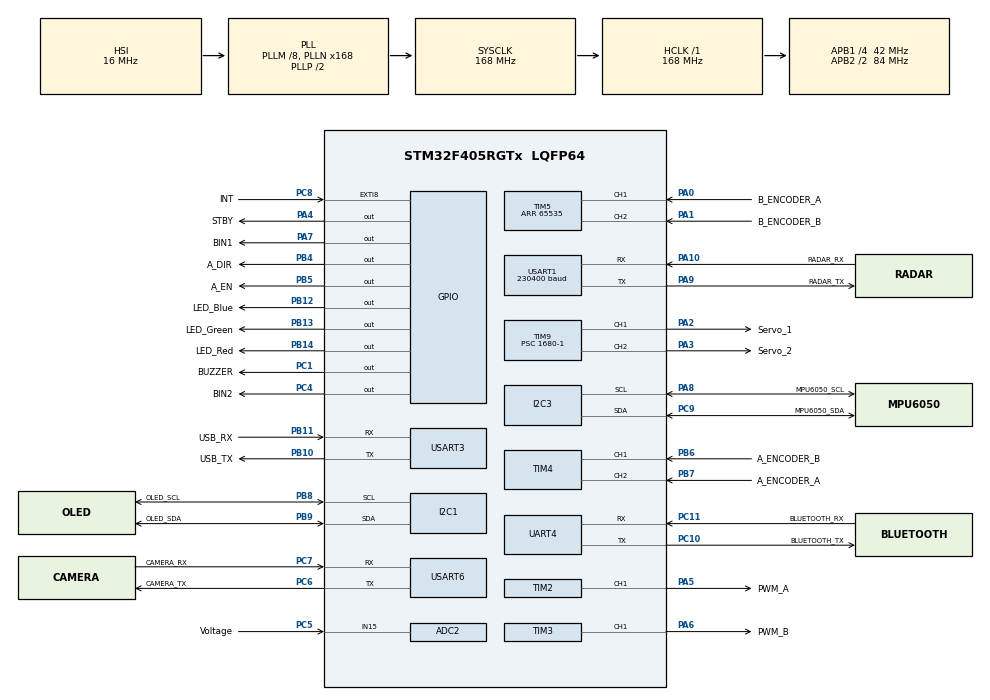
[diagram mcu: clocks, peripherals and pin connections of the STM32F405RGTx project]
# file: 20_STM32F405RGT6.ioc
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ADC1.Channel-1\#ChannelRegularConversion=ADC_CHANNEL_TEMPSENSOR
ADC1.ClockPrescaler=ADC_CLOCK_SYNC_PCLK_DIV8
ADC1.ContinuousConvMode=ENABLE
ADC1.DMAContinuousRequests=ENABLE
ADC1.NbrOfConversionFlag=1
ADC1.Rank-1\#ChannelRegularConversion=1
ADC1.SamplingTime-1\#ChannelRegularConversion=ADC_SAMPLETIME_480CYCLES
ADC1.ScanConvMode=ENABLE
ADC1.master=1
ADC2.Channel-0\#ChannelRegularConversion=ADC_CHANNEL_15
ADC2.ClockPrescaler=ADC_CLOCK_SYNC_PCLK_DIV8
ADC2.ContinuousConvMode=ENABLE
ADC2.DMAContinuousRequests=ENABLE
ADC2.NbrOfConversionFlag=1
ADC2.Rank-0\#ChannelRegularConversion=1
ADC2.SamplingTime-0\#ChannelRegularConversion=ADC_SAMPLETIME_480CYCLES
ADC2.ScanConvMode=ENABLE
Dma.ADC1.1.Direction=DMA_PERIPH_TO_MEMORY
Dma.ADC1.1.FIFOMode=DMA_FIFOMODE_DISABLE
Dma.ADC1.1.Instance=DMA2_Stream0
Dma.ADC1.1.MemDataAlignment=DMA_MDATAALIGN_HALFWORD
Dma.ADC1.1.MemInc=DMA_MINC_ENABLE
Dma.ADC1.1.Mode=DMA_CIRCULAR
Dma.ADC1.1.PeriphDataAlignment=DMA_PDATAALIGN_HALFWORD
Dma.ADC1.1.PeriphInc=DMA_PINC_DISABLE
Dma.ADC1.1.Priority=DMA_PRIORITY_LOW
Dma.ADC2.0.Direction=DMA_PERIPH_TO_MEMORY
Dma.ADC2.0.FIFOMode=DMA_FIFOMODE_DISABLE
Dma.ADC2.0.Instance=DMA2_Stream2
Dma.ADC2.0.MemDataAlignment=DMA_MDATAALIGN_HALFWORD
Dma.ADC2.0.MemInc=DMA_MINC_ENABLE
Dma.ADC2.0.Mode=DMA_CIRCULAR
Dma.ADC2.0.PeriphDataAlignment=DMA_PDATAALIGN_HALFWORD
Dma.ADC2.0.PeriphInc=DMA_PINC_DISABLE
Dma.ADC2.0.Priority=DMA_PRIORITY_LOW
Dma.Request0=ADC2
Dma.Request1=ADC1
FREERTOS.Tasks01=defaultTask,16,128,StartDefaultTask,Default,NULL,Dynamic,NULL,NULL;BalanceTask,40,128,StartBalanceTask,Default,NULL,Dynamic,NULL,NULL;CommunicationTask,32,128,StartCommunicationTask,Default,NULL,Dynamic,NULL,NULL;AvoidanceTask,24,128,StartAvoidanceTask,Default,NULL,Dynamic,NULL,NULL
FREERTOS.configMAX_TASK_NAME_LEN=18
I2C1.I2C_Mode=I2C_Fast
I2C3.I2C_Mode=I2C_Fast
Mcu.Family=STM32F4
Mcu.Name=STM32F405RGTx
Mcu.Package=LQFP64
NVIC.DMA2_Stream0_IRQn=true\:5\:0\:false\:false\:true\:true\:false\:true\:true
NVIC.DMA2_Stream2_IRQn=true\:5\:0\:false\:false\:true\:true\:false\:true\:true
NVIC.EXTI9_5_IRQn=true\:5\:0\:false\:false\:true\:true\:true\:true\:true
NVIC.PriorityGroup=NVIC_PRIORITYGROUP_4
NVIC.TIM4_IRQn=true\:5\:0\:false\:false\:true\:true\:true\:true\:true
NVIC.TIM5_IRQn=true\:5\:0\:false\:false\:true\:true\:true\:true\:true
NVIC.TIM6_DAC_IRQn=true\:5\:0\:false\:false\:true\:true\:true\:true\:true
NVIC.TIM8_TRG_COM_TIM14_IRQn=true\:15\:0\:false\:false\:true\:false\:false\:true\:true
NVIC.TimeBase=TIM8_TRG_COM_TIM14_IRQn
NVIC.TimeBaseIP=TIM14
NVIC.UART4_IRQn=true\:5\:0\:false\:false\:true\:true\:true\:true\:true
NVIC.USART1_IRQn=true\:5\:0\:false\:false\:true\:true\:true\:true\:true
NVIC.USART3_IRQn=true\:5\:0\:false\:false\:true\:true\:true\:true\:true
NVIC.USART6_IRQn=true\:5\:0\:false\:false\:true\:true\:true\:true\:true
PA0-WKUP.GPIO_Label=B_ENCODER_A
PA0-WKUP.Signal=S_TIM5_CH1
PA1.GPIO_Label=B_ENCODER_B
PA1.Signal=S_TIM5_CH2
PA10.GPIO_Label=RADAR_RX
PA10.Mode=Asynchronous
PA10.Signal=USART1_RX
PA13.Mode=Serial_Wire
PA13.Signal=SYS_JTMS-SWDIO
PA14.Mode=Serial_Wire
PA14.Signal=SYS_JTCK-SWCLK
PA2.GPIO_Label=Servo_1
PA2.Signal=S_TIM9_CH1
PA3.GPIO_Label=Servo_2
PA3.Signal=S_TIM9_CH2
PA4.GPIO_Label=STBY
PA4.Signal=GPIO_Output
PA5.GPIO_Label=PWM_A
PA5.Signal=S_TIM2_CH1_ETR
PA6.GPIO_Label=PWM_B
PA6.Signal=S_TIM3_CH1
PA7.GPIO_Label=BIN1
PA7.Signal=GPIO_Output
PA8.GPIO_Label=MPU6050_SCL
PA8.Mode=I2C
PA8.Signal=I2C3_SCL
PA9.GPIO_Label=RADAR_TX
PA9.Mode=Asynchronous
PA9.Signal=USART1_TX
PB10.GPIO_Label=USB_TX
PB10.Mode=Asynchronous
PB10.Signal=USART3_TX
PB11.GPIO_Label=USB_RX
PB11.Mode=Asynchronous
PB11.Signal=USART3_RX
PB12.GPIO_Label=LED_Blue
PB12.Signal=GPIO_Output
PB13.GPIO_Label=LED_Green
PB13.Signal=GPIO_Output
PB14.GPIO_Label=LED_Red
PB14.Signal=GPIO_Output
PB4.GPIO_Label=A_DIR
PB4.Signal=GPIO_Output
PB5.GPIO_Label=A_EN
PB5.Signal=GPIO_Output
PB6.GPIO_Label=A_ENCODER_B
PB6.Signal=S_TIM4_CH1
PB7.GPIO_Label=A_ENCODER_A
PB7.Signal=S_TIM4_CH2
PB8.GPIO_Label=OLED_SCL
PB8.Mode=I2C
PB8.Signal=I2C1_SCL
PB9.GPIO_Label=OLED_SDA
PB9.Mode=I2C
PB9.Signal=I2C1_SDA
PC1.GPIO_Label=BUZZER
PC1.Signal=GPIO_Output
PC10.GPIO_Label=BLUETOOTH_TX
PC10.GPIO_PuPd=GPIO_PULLUP
PC10.Mode=Asynchronous
PC10.Signal=UART4_TX
PC11.GPIO_Label=BLUETOOTH_RX
PC11.Mode=Asynchronous
PC11.Signal=UART4_RX
PC14-OSC32_IN.Mode=LSE-External-Oscillator
PC14-OSC32_IN.Signal=RCC_OSC32_IN
PC15-OSC32_OUT.Mode=LSE-External-Oscillator
PC15-OSC32_OUT.Signal=RCC_OSC32_OUT
PC4.GPIO_Label=BIN2
PC4.Signal=GPIO_Output
PC5.GPIO_Label=Voltage
PC5.Signal=ADCx_IN15
PC6.GPIO_Label=CAMERA_TX
PC6.Mode=Asynchronous
PC6.Signal=USART6_TX
PC7.GPIO_Label=CAMERA_RX
PC7.Mode=Asynchronous
PC7.Signal=USART6_RX
PC8.GPIO_Label=INT
PC8.GPIO_ModeDefaultEXTI=GPIO_MODE_IT_FALLING
PC8.GPIO_PuPd=GPIO_PULLUP
PC8.Signal=GPXTI8
PC9.GPIO_Label=MPU6050_SDA
PC9.Mode=I2C
PC9.Signal=I2C3_SDA
PH0-OSC_IN.Mode=HSE-External-Oscillator
PH0-OSC_IN.Signal=RCC_OSC_IN
PH1-OSC_OUT.Mode=HSE-External-Oscillator
PH1-OSC_OUT.Signal=RCC_OSC_OUT
ProjectManager.HeapSize=0x200
ProjectManager.StackSize=0x400
ProjectManager.TargetToolchain=MDK-ARM V5.32
RCC.48MHZClocksFreq_Value=84000000
RCC.AHBFreq_Value=168000000
RCC.APB1CLKDivider=RCC_HCLK_DIV4
RCC.APB1Freq_Value=42000000
RCC.APB1TimFreq_Value=84000000
RCC.APB2CLKDivider=RCC_HCLK_DIV2
RCC.APB2Freq_Value=84000000
RCC.APB2TimFreq_Value=168000000
RCC.CortexFreq_Value=168000000
RCC.HCLKFreq_Value=168000000
RCC.HSE_VALUE=25000000
RCC.HSI_VALUE=16000000
RCC.PLLM=8
RCC.PLLN=168
RCC.SYSCLKFreq_VALUE=168000000
RCC.SYSCLKSource=RCC_SYSCLKSOURCE_PLLCLK
RCC.VCOOutputFreq_Value=336000000
SH.ADCx_IN15.0=ADC2_IN15,IN15
SH.S_TIM2_CH1_ETR.0=TIM2_CH1,PWM Generation1 CH1
SH.S_TIM3_CH1.0=TIM3_CH1,PWM Generation1 CH1
SH.S_TIM4_CH1.0=TIM4_CH1,Encoder_Interface
SH.S_TIM4_CH2.0=TIM4_CH2,Encoder_Interface
SH.S_TIM5_CH1.0=TIM5_CH1,Encoder_Interface
SH.S_TIM5_CH2.0=TIM5_CH2,Encoder_Interface
SH.S_TIM9_CH1.0=TIM9_CH1,PWM Generation1 CH1
SH.S_TIM9_CH2.0=TIM9_CH2,PWM Generation2 CH2
TIM2.Channel-PWM\ Generation1\ CH1=TIM_CHANNEL_1
TIM2.OCFastMode_PWM-PWM\ Generation1\ CH1=TIM_OCFAST_ENABLE
TIM2.OCPolarity_1=TIM_OCPOLARITY_LOW
TIM2.Period=4200-1
TIM2.Prescaler=1-1
TIM3.Channel-PWM\ Generation1\ CH1=TIM_CHANNEL_1
TIM3.Period=1000-1
TIM3.Prescaler=168-1
TIM4.EncoderMode=TIM_ENCODERMODE_TI12
TIM4.IC1Filter=10
TIM4.IC2Filter=10
TIM5.EncoderMode=TIM_ENCODERMODE_TI12
TIM5.IC1Filter=10
TIM5.IC2Filter=10
TIM5.Period=65535
TIM6.Period=1000-1
TIM6.Prescaler=840-1
TIM9.Channel-PWM\ Generation1\ CH1=TIM_CHANNEL_1
TIM9.Channel-PWM\ Generation2\ CH2=TIM_CHANNEL_2
TIM9.Period=2000-1
TIM9.Prescaler=1680-1
UART4.VirtualMode=Asynchronous
USART1.BaudRate=230400
USART1.VirtualMode=VM_ASYNC
USART3.VirtualMode=VM_ASYNC
USART6.VirtualMode=VM_ASYNC
VP_ADC1_TempSens_Input.Mode=IN-TempSens
VP_FREERTOS_VS_CMSIS_V2.Mode=CMSIS_V2
VP_SYS_VS_tim14.Mode=TIM14
VP_TIM6_VS_ClockSourceINT.Mode=Enable_Timer
board=custom

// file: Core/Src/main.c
/* USER CODE BEGIN Header */
/**
  ******************************************************************************
  * @file           : main.c
  * @brief          : Main program body
  ******************************************************************************
  * @attention
  *
  * Copyright (c) 2024 STMicroelectronics.
  * All rights reserved.
  *
  * This software is licensed under terms that can be found in the LICENSE file
  * in the root directory of this software component.
  * If no LICENSE file comes with this software, it is provided AS-IS.
  *
  ******************************************************************************
  */
/* USER CODE END Header */
#include "main.h"
#include "cmsis_os.h"
#include "adc.h"
#include "dma.h"
#include "i2c.h"
#include "tim.h"
#include "usart.h"
#include "gpio.h"

/* USER CODE BEGIN Includes */

#include "./led/led.h"
#include "./oled/oled.h"
#include "./debug/debug.h"
#include "./adcc/adcc.h"
#include "./buzzer/buzzer.h"
#include "./servo/servo.h"
#include "./motor/motor.h"
#include "./mpu6050/mpu6050.h"
#include "./mpu6050/mpu6050_dmp.h"
#include "./mpu6050/mpu6050_imu.h"
#include "./bluetooth/bluetooth.h"
#include "./radar/radar.h"
#include "./pid/pid.h"
/* USER CODE END Includes */

void SystemClock_Config(void);
void MX_FREERTOS_Init(void);

int main(void)
{

  /* MCU Configuration--------------------------------------------------------*/

  /* Reset of all peripherals, Initializes the Flash interface and the Systick. */
  HAL_Init();

  /* Configure the system clock */
  SystemClock_Config();

  /* Initialize all configured peripherals */
  MX_GPIO_Init();
  MX_DMA_Init();
  MX_ADC2_Init();
  MX_ADC1_Init();
  MX_I2C1_Init();
  MX_I2C3_Init();
  MX_TIM2_Init();
  MX_TIM3_Init();
  MX_TIM4_Init();
  MX_TIM5_Init();
  MX_TIM9_Init();
  MX_UART4_Init();
  MX_USART1_UART_Init();
  MX_USART3_UART_Init();
  MX_USART6_UART_Init();
  MX_TIM6_Init();
  /* USER CODE BEGIN 2 */

	LED_Init();
	OLED_Init();OLED_Clear();OLED_Test();
	ADC_Init();
	DEBUG_Init();
	BUZZER_Init();
	SERVO_Init();
	MOTOR_Init();

	MPU6050_Init();

	while(MPU6050_DMP_Init()!=0){
		OLED_ShowString(0,1,(char*)"MPU6050DMP Init...",12,0);
	}
	OLED_Clear();

	MPU6050_IMU_Init();

	Bluetooth_Init();
	Radar_Init();

  /* USER CODE END 2 */

  /* Init scheduler */
  osKernelInitialize();  /* Call init function for freertos objects (in freertos.c) */
  MX_FREERTOS_Init();

  /* Start scheduler */
  osKernelStart();
  /* We should never get here as control is now taken by the scheduler */
  /* Infinite loop */
  while (1)
  {

  }
}

void SystemClock_Config(void)
{
  RCC_OscInitTypeDef RCC_OscInitStruct = {0};
  RCC_ClkInitTypeDef RCC_ClkInitStruct = {0};

  /** Configure the main internal regulator output voltage
  */
  __HAL_RCC_PWR_CLK_ENABLE();
  __HAL_PWR_VOLTAGESCALING_CONFIG(PWR_REGULATOR_VOLTAGE_SCALE1);

  /** Initializes the RCC Oscillators according to the specified parameters
  * in the RCC_OscInitTypeDef structure.
  */
  RCC_OscInitStruct.OscillatorType = RCC_OSCILLATORTYPE_HSI;
  RCC_OscInitStruct.HSIState = RCC_HSI_ON;
  RCC_OscInitStruct.HSICalibrationValue = RCC_HSICALIBRATION_DEFAULT;
  RCC_OscInitStruct.PLL.PLLState = RCC_PLL_ON;
  RCC_OscInitStruct.PLL.PLLSource = RCC_PLLSOURCE_HSI;
  RCC_OscInitStruct.PLL.PLLM = 8;
  RCC_OscInitStruct.PLL.PLLN = 168;
  RCC_OscInitStruct.PLL.PLLP = RCC_PLLP_DIV2;
  RCC_OscInitStruct.PLL.PLLQ = 4;
  if (HAL_RCC_OscConfig(&RCC_OscInitStruct) != HAL_OK)
  {
    Error_Handler();
  }

  /** Initializes the CPU, AHB and APB buses clocks
  */
  RCC_ClkInitStruct.ClockType = RCC_CLOCKTYPE_HCLK|RCC_CLOCKTYPE_SYSCLK
                              |RCC_CLOCKTYPE_PCLK1|RCC_CLOCKTYPE_PCLK2;
  RCC_ClkInitStruct.SYSCLKSource = RCC_SYSCLKSOURCE_PLLCLK;
  RCC_ClkInitStruct.AHBCLKDivider = RCC_SYSCLK_DIV1;
  RCC_ClkInitStruct.APB1CLKDivider = RCC_HCLK_DIV4;
  RCC_ClkInitStruct.APB2CLKDivider = RCC_HCLK_DIV2;

  if (HAL_RCC_ClockConfig(&RCC_ClkInitStruct, FLASH_LATENCY_5) != HAL_OK)
  {
    Error_Handler();
  }
}

//void HAL_TIM_PeriodElapsedCallback(TIM_HandleTypeDef *htim)
//{
//  /* USER CODE BEGIN Callback 0 */

//  /* USER CODE END Callback 0 */
//  if (htim->Instance == TIM14) {
//    HAL_IncTick();
//  }
//  /* USER CODE BEGIN Callback 1 */

//  /* USER CODE END Callback 1 */
//}

void Error_Handler(void)
{
  __disable_irq();
  while (1)
  {
  }
}

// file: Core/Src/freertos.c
/* USER CODE BEGIN Header */
/**
  ******************************************************************************
  * File Name          : freertos.c
  * Description        : Code for freertos applications
  ******************************************************************************
  * @attention
  *
  * Copyright (c) 2024 STMicroelectronics.
  * All rights reserved.
  *
  * This software is licensed under terms that can be found in the LICENSE file
  * in the root directory of this software component.
  * If no LICENSE file comes with this software, it is provided AS-IS.
  *
  ******************************************************************************
  */
/* USER CODE END Header */

#include "FreeRTOS.h"
#include "task.h"
#include "main.h"
#include "cmsis_os.h"

/* USER CODE BEGIN Includes */
#include <string.h>
#include "./led/led.h"
#include "./oled/oled.h"
#include "./debug/debug.h"
#include "./adcc/adcc.h"
#include "./buzzer/buzzer.h"
#include "./servo/servo.h"
#include "./motor/motor.h"
#include "./mpu6050/mpu6050.h"
#include "./mpu6050/mpu6050_dmp.h"
#include "./mpu6050/mpu6050_imu.h"
#include "./bluetooth/bluetooth.h"
#include "./radar/radar.h"
#include "./control/control.h"
/* USER CODE END Includes */

/* Definitions for defaultTask */
osThreadId_t defaultTaskHandle;
const osThreadAttr_t defaultTask_attributes = {
  .name = "defaultTask",
  .stack_size = 128 * 4,
  .priority = (osPriority_t) osPriorityBelowNormal,
};
/* Definitions for BalanceTask */
osThreadId_t BalanceTaskHandle;
const osThreadAttr_t BalanceTask_attributes = {
  .name = "BalanceTask",
  .stack_size = 128 * 4,
  .priority = (osPriority_t) osPriorityHigh,
};
/* Definitions for CommunicationTask */
osThreadId_t CommunicationTaskHandle;
const osThreadAttr_t CommunicationTask_attributes = {
  .name = "CommunicationTask",
  .stack_size = 128 * 4,
  .priority = (osPriority_t) osPriorityAboveNormal,
};
/* Definitions for AvoidanceTask */
osThreadId_t AvoidanceTaskHandle;
const osThreadAttr_t AvoidanceTask_attributes = {
  .name = "AvoidanceTask",
  .stack_size = 128 * 4,
  .priority = (osPriority_t) osPriorityNormal,
};

void StartDefaultTask(void *argument);
void StartBalanceTask(void *argument);
void StartCommunicationTask(void *argument);
void StartAvoidanceTask(void *argument);

void MX_FREERTOS_Init(void); /* (MISRA C 2004 rule 8.1) */

void MX_FREERTOS_Init(void) {

  /* Create the thread(s) */
  /* creation of defaultTask */
  defaultTaskHandle = osThreadNew(StartDefaultTask, NULL, &defaultTask_attributes);

  /* creation of BalanceTask */
  BalanceTaskHandle = osThreadNew(StartBalanceTask, NULL, &BalanceTask_attributes);

  /* creation of CommunicationTask */
  CommunicationTaskHandle = osThreadNew(StartCommunicationTask, NULL, &CommunicationTask_attributes);

  /* creation of AvoidanceTask */
  AvoidanceTaskHandle = osThreadNew(StartAvoidanceTask, NULL, &AvoidanceTask_attributes);

}

void StartDefaultTask(void *argument)
{
  /* USER CODE BEGIN StartDefaultTask */
  /* Infinite loop */
  for(;;)
  {

	OLED_ShowString(0,0,(char*)"Voltage:",16,0); OLED_Showdecimal(64,0,Get_Voltage(),2,1,16, 0); OLED_ShowString(96,0,(char*)"V",16,0);
	OLED_ShowString(0,2,(char*)"Pitch:",16,0); OLED_Showdecimal(48,2,MPU6050_Data_DMP.Pitch,2,1,16,0);
	OLED_ShowString(0,4,(char*)"Yaw:",16,0); OLED_Showdecimal(32,4,MPU6050_Data_DMP.Yaw,2,1,16,0);
	OLED_ShowString(0,6,(char*)"Speed:",16,0);OLED_Showdecimal(48,6,MotorA.cur_speed,3,1,16,0);

	Voltage_Control();
    osDelay(10);
  }
  /* USER CODE END StartDefaultTask */
}

void StartBalanceTask(void *argument)
{
  /* USER CODE BEGIN StartBalanceTask */
  /* Infinite loop */
  for(;;)
  {

	//编码器速度采集
	MotorA.totalCount = __HAL_TIM_GET_COUNTER(&htim4) + MotorA.overflowNum*65535 - MotorA.lastCount;
	MotorA.lastCount = __HAL_TIM_GET_COUNTER(&htim4) + MotorA.overflowNum*65535;
	MotorA.overflowNum = 0;
	MotorA.cur_speed = MotorA.totalCount;

	MPU6050_DMP_Get_Data(&MPU6050_Data_DMP.Pitch, &MPU6050_Data_DMP.Roll, &MPU6050_Data_DMP.Yaw);
	MPU6050_Get_Acc(&MPU6050_Data_DMP.Acc);
	//MPU6050_Get_Acc(&MPU6050_Data_IMU.Acc);
	MPU6050_Get_Gyro(&MPU6050_Data_DMP.Gyro);
	//MPU6050_Get_Gyro(&MPU6050_Data_IMU.Gyro);

	//MPU6050_IMU_Get_Data(&MPU6050_Data_IMU.Pitch, &MPU6050_Data_IMU.Roll, 0.01f);

	//Control_1();
	Control_2();
	printf("%f\n",MPU6050_Data_DMP.Pitch);

	osDelay(5);
  }
  /* USER CODE END StartBalanceTask */
}

void StartCommunicationTask(void *argument)
{
  /* USER CODE BEGIN StartCommunicationTask */
  /* Infinite loop */
  for(;;)
  {

//	 //Control_2_recieve
//	if(Bluetooth_Rx_flag == 1){
//
//
//		Bluetooth_Recieve();
//		Bluetooth_Rx_flag = 0;
//	}
//
//
//	if(Bluetooth_Rec_Data.LedStatus == 1)
//		LED_Blue_On();
//	else
//		LED_Blue_Off();
//	Med_Angle = Bluetooth_Rec_Data.med_angle;
//	Vertical_Kp = Bluetooth_Rec_Data.vertical_kp;
//	Vertical_Kd = Bluetooth_Rec_Data.vertical_kd;
//	Velocity_Kp = Bluetooth_Rec_Data.velocity_kp;
//	Velocity_Ki = Bluetooth_Rec_Data.velocity_ki;
//	//----
//	//Control_2_send
//	Bluetooth_Send_Data.speed = (int)MotorA.tar_speed;
//	Bluetooth_Send_Data.pitch = MPU6050_Data_DMP.Pitch;
//	Bluetooth_Send_Data.y = MPU6050_Data_DMP.Gyro.y;
//  Bluetooth_Send();
//	//-------------

	Bluetooth_Control();

    osDelay(50);
  }
  /* USER CODE END StartCommunicationTask */
}

void StartAvoidanceTask(void *argument)
{
  /* USER CODE BEGIN StartAvoidanceTask */
  /* Infinite loop */
  for(;;)
  {

	Radar_Control();

    osDelay(10);
  }
  /* USER CODE END StartAvoidanceTask */
}
